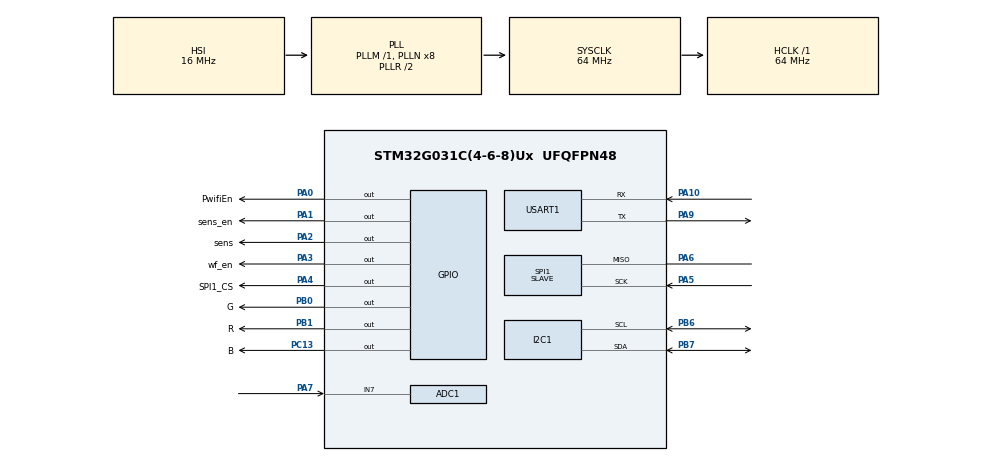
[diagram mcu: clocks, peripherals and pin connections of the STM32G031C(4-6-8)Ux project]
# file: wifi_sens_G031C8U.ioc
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ADC1.Channel-0\#ChannelRegularConversion=ADC_CHANNEL_VBAT
ADC1.ChannelVBAT=ADC_CHANNEL_VBAT
ADC1.NbrOfConversionFlag=1
ADC1.Rank-0\#ChannelRegularConversion=1
ADC1.SamplingTime-0\#ChannelRegularConversion=ADC_SAMPLINGTIME_COMMON_1
ADC1.SelectedChannel=ADC_CHANNEL_7|ADC_CHANNEL_VBAT
ADC1.master=1
I2C1.Timing=0x10707DBC
Mcu.Family=STM32G0
Mcu.Name=STM32G031C(4-6-8)Ux
Mcu.Package=UFQFPN48
NVIC.USART1_IRQn=true\:0\:0\:false\:false\:true\:true\:true
PA0.GPIO_Label=PwifiEn
PA0.PinState=GPIO_PIN_SET
PA0.Signal=GPIO_Output
PA1.GPIO_Label=sens_en
PA1.Signal=GPIO_Output
PA10\ [PA12].Mode=Asynchronous
PA10\ [PA12].Signal=USART1_RX
PA13.Mode=Serial_Wire
PA13.Signal=SYS_SWDIO
PA14-BOOT0.Mode=Serial_Wire
PA14-BOOT0.Signal=SYS_SWCLK
PA2.GPIO_Label=sens
PA2.Signal=GPIO_Output
PA3.GPIO_Label=wf_en
PA3.Signal=GPIO_Output
PA4.GPIO_Label=SPI1_CS
PA4.Signal=GPIO_Output
PA5.Mode=Simplex_Bidirectional_Slave
PA5.Signal=SPI1_SCK
PA6.Mode=Simplex_Bidirectional_Slave
PA6.Signal=SPI1_MISO
PA7.Mode=IN7
PA7.Signal=ADC1_IN7
PA9\ [PA11].Mode=Asynchronous
PA9\ [PA11].Signal=USART1_TX
PB0.GPIO_Label=G
PB0.PinState=GPIO_PIN_SET
PB0.Signal=GPIO_Output
PB1.GPIO_Label=R
PB1.PinState=GPIO_PIN_SET
PB1.Signal=GPIO_Output
PB6.GPIO_Pu=GPIO_PULLUP
PB6.Mode=I2C
PB6.Signal=I2C1_SCL
PB7.GPIO_Pu=GPIO_PULLUP
PB7.Mode=I2C
PB7.Signal=I2C1_SDA
PC13.GPIO_Label=B
PC13.PinState=GPIO_PIN_SET
PC13.Signal=GPIO_Output
ProjectManager.HeapSize=0x200
ProjectManager.StackSize=0x400
ProjectManager.TargetToolchain=STM32CubeIDE
RCC.ADCFreq_Value=64000000
RCC.AHBFreq_Value=64000000
RCC.CortexFreq_Value=64000000
RCC.EXTERNAL_CLOCK_VALUE=12288000
RCC.HCLKFreq_Value=64000000
RCC.HSE_VALUE=8000000
RCC.HSI_VALUE=16000000
RCC.LSE_VALUE=32768
RCC.SYSCLKFreq_VALUE=64000000
RCC.SYSCLKSource=RCC_SYSCLKSOURCE_PLLCLK
RCC.VCOOutputFreq_Value=128000000
RTC.Alarm-Alarm\ A=RTC_ALARM_A
RTC.Format=RTC_FORMAT_BIN
RTC.Minutes_A-Alarm\ A=5
SPI1.Direction=SPI_DIRECTION_1LINE
SPI1.Mode=SPI_MODE_SLAVE
SPI1.VirtualType=VM_SLAVE
TIM1.Prescaler=64-1
USART1.VirtualMode-Asynchronous=VM_ASYNC
VP_ADC1_Vbat_Input.Mode=IN-Vbat
VP_CRC_VS_CRC.Mode=CRC_Activate
VP_RTC_VS_RTC_Activate.Mode=RTC_Enabled
VP_RTC_VS_RTC_Alarm_A_Intern.Mode=Alarm A
VP_RTC_VS_RTC_Calendar.Mode=RTC_Calendar
VP_SYS_VS_PINREMAP.Mode=PINREMAP
VP_SYS_VS_PINREMAP_10_12.Mode=PINREMAP_10_12
VP_TIM1_VS_ClockSourceINT.Mode=Internal
board=custom

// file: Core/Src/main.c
/* USER CODE BEGIN Header */
/**
  ******************************************************************************
  * @file           : main.c
  * @brief          : Main program body
  ******************************************************************************
  * @attention
  *
  * Copyright (c) 2022 STMicroelectronics.
  * All rights reserved.
  *
  * This software is licensed under terms that can be found in the LICENSE file
  * in the root directory of this software component.
  * If no LICENSE file comes with this software, it is provided AS-IS.
  *
  ******************************************************************************
  */
/* USER CODE END Header */
#include "main.h"
#include "adc.h"
#include "crc.h"
#include "i2c.h"
#include "rtc.h"
#include "spi.h"
#include "tim.h"
#include "usart.h"
#include "gpio.h"

/* USER CODE BEGIN Includes */
#include "ESP_DATA_HANDLER.h"
#include "Temp_Sens_conf.h"
#if (DS18B20_use==1|| DHT11_use==1 || DHT22_use==1)
#include "Temp_Sens.h"
#endif
/* USER CODE END Includes */

/* USER CODE BEGIN PV */
#if (DS18B20_use==1)
uint8_t Temp_byte1, Temp_byte2, Presence = 0;
uint16_t TEMP;
float Temperature = 0;
#endif

#if (DHT11_use==1 || DHT22_use==1)
uint8_t Rh_byte1, Rh_byte2, Temp_byte1, Temp_byte2;
uint16_t SUM, RH, TEMP;

float Temperature = 0;
float Humidity = 0;
uint8_t Presence = 0;
#endif
#if BME280_use==1
float Temperature, Pressure, Humidity;
#endif

/* USER CODE END PV */

void SystemClock_Config(void);

int main(void)
{

  /* MCU Configuration--------------------------------------------------------*/

  /* Reset of all peripherals, Initializes the Flash interface and the Systick. */
  HAL_Init();

  /* Configure the system clock */
  SystemClock_Config();

  /* Initialize all configured peripherals */
  MX_GPIO_Init();
  MX_ADC1_Init();
  MX_CRC_Init();
  MX_I2C1_Init();
  MX_USART1_UART_Init();
  MX_RTC_Init();
  MX_SPI1_Init();
  MX_TIM1_Init();
  /* USER CODE BEGIN 2 */
  ESP_Init("Akm31", "88888888", "192.168.1.129");

#if (DS18B20_use==1|| DHT11_use==1 || DHT22_use==1)
  HAL_TIM_Base_Start(&DelayTIM);
#endif

  /* USER CODE END 2 */

  /* Infinite loop */
  while (1)
  {

    /* USER CODE BEGIN 3 */

#if (DS18B20_use==1|| DHT11_use==1 || DHT22_use==1)
	  HAL_GPIO_WritePin(sens_en_GPIO_Port, sens_en_Pin, RESET);
	  HAL_Delay(100);
#endif
#if (DS18B20_use==1)
	  Presence = DS18B20_Start ();
	  HAL_Delay (1);
	  DS18B20_Write (0xCC);  // skip ROM
	  DS18B20_Write (0x44);  // convert t
	  HAL_Delay (800);

	  Presence = DS18B20_Start ();
	  HAL_Delay(1);
	  DS18B20_Write (0xCC);  // skip ROM
	  DS18B20_Write (0xBE);  // Read Scratch-pad

	  Temp_byte1 = DS18B20_Read();
	  Temp_byte2 = DS18B20_Read();
	  TEMP = (Temp_byte2<<8)|Temp_byte1;
	  Temperature = (float)TEMP/16;
	  HAL_Delay(3000);
#endif

//********************** DHT11 *********************/
#if (DHT11_use==1)

	 	  DHT11_Start();
	  Presence = DHT11_Check_Response();
	  Rh_byte1 = DHT11_Read ();
	  Rh_byte2 = DHT11_Read ();
	  Temp_byte1 = DHT11_Read ();
	  Temp_byte2 = DHT11_Read ();
	  SUM = DHT11_Read();

	  TEMP = Temp_byte1;
	  RH = Rh_byte1;

	  Temperature = (float) TEMP;
	  Humidity = (float) RH;

#endif

//********************** DHT *********************/
#if (DHT22_use==1)
	  DHT22_Start();
	  Presence = DHT22_Check_Response();
	  Rh_byte1 = DHT22_Read ();
	  Rh_byte2 = DHT22_Read ();
	  Temp_byte1 = DHT22_Read ();
	  Temp_byte2 = DHT22_Read ();
	  SUM = DHT22_Read();

	  TEMP = ((Temp_byte1<<8)|Temp_byte2);
	  RH = ((Rh_byte1<<8)|Rh_byte2);

	  Temperature = (float) (TEMP/10.0);
	  Humidity = (float) (RH/10.0);

#endif

	  Server_Start();

  }
  /* USER CODE END 3 */
}

void SystemClock_Config(void)
{
  RCC_OscInitTypeDef RCC_OscInitStruct = {0};
  RCC_ClkInitTypeDef RCC_ClkInitStruct = {0};

  /** Configure the main internal regulator output voltage
  */
  HAL_PWREx_ControlVoltageScaling(PWR_REGULATOR_VOLTAGE_SCALE1);
  /** Initializes the RCC Oscillators according to the specified parameters
  * in the RCC_OscInitTypeDef structure.
  */
  RCC_OscInitStruct.OscillatorType = RCC_OSCILLATORTYPE_HSI|RCC_OSCILLATORTYPE_LSI;
  RCC_OscInitStruct.HSIState = RCC_HSI_ON;
  RCC_OscInitStruct.HSIDiv = RCC_HSI_DIV1;
  RCC_OscInitStruct.HSICalibrationValue = RCC_HSICALIBRATION_DEFAULT;
  RCC_OscInitStruct.LSIState = RCC_LSI_ON;
  RCC_OscInitStruct.PLL.PLLState = RCC_PLL_ON;
  RCC_OscInitStruct.PLL.PLLSource = RCC_PLLSOURCE_HSI;
  RCC_OscInitStruct.PLL.PLLM = RCC_PLLM_DIV1;
  RCC_OscInitStruct.PLL.PLLN = 8;
  RCC_OscInitStruct.PLL.PLLP = RCC_PLLP_DIV2;
  RCC_OscInitStruct.PLL.PLLQ = RCC_PLLQ_DIV2;
  RCC_OscInitStruct.PLL.PLLR = RCC_PLLR_DIV2;
  if (HAL_RCC_OscConfig(&RCC_OscInitStruct) != HAL_OK)
  {
    Error_Handler();
  }
  /** Initializes the CPU, AHB and APB buses clocks
  */
  RCC_ClkInitStruct.ClockType = RCC_CLOCKTYPE_HCLK|RCC_CLOCKTYPE_SYSCLK
                              |RCC_CLOCKTYPE_PCLK1;
  RCC_ClkInitStruct.SYSCLKSource = RCC_SYSCLKSOURCE_PLLCLK;
  RCC_ClkInitStruct.AHBCLKDivider = RCC_SYSCLK_DIV1;
  RCC_ClkInitStruct.APB1CLKDivider = RCC_HCLK_DIV1;

  if (HAL_RCC_ClockConfig(&RCC_ClkInitStruct, FLASH_LATENCY_2) != HAL_OK)
  {
    Error_Handler();
  }
}

void Error_Handler(void)
{
  __disable_irq();
  while (1)
  {
  }
}
